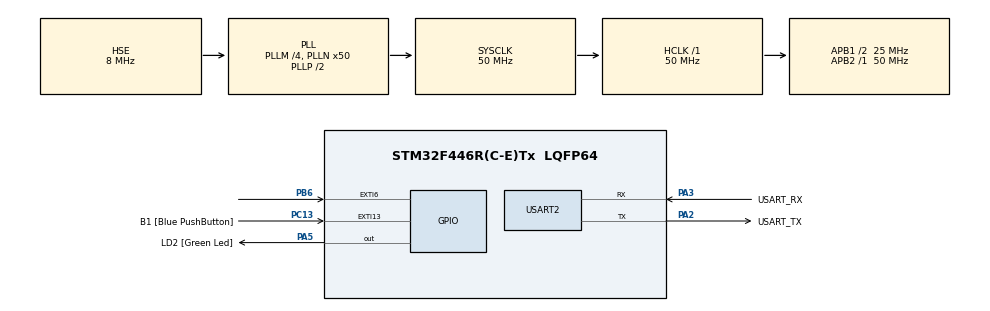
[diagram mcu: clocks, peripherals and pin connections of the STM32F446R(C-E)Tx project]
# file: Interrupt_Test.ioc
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Mcu.Family=STM32F4
Mcu.Name=STM32F446R(C-E)Tx
Mcu.Package=LQFP64
NVIC.EXTI9_5_IRQn=true\:0\:0\:false\:false\:true\:true\:true
NVIC.PriorityGroup=NVIC_PRIORITYGROUP_0
PA13.GPIO_Label=TMS
PA13.Mode=Serial_Wire
PA13.Signal=SYS_JTMS-SWDIO
PA14.GPIO_Label=TCK
PA14.Mode=Serial_Wire
PA14.Signal=SYS_JTCK-SWCLK
PA2.GPIO_Label=USART_TX
PA2.Mode=Asynchronous
PA2.Signal=USART2_TX
PA3.GPIO_Label=USART_RX
PA3.Mode=Asynchronous
PA3.Signal=USART2_RX
PA5.GPIO_Label=LD2 [Green Led]
PA5.Signal=GPIO_Output
PB3.GPIO_Label=SWO
PB3.Signal=SYS_JTDO-SWO
PB6.Signal=GPXTI6
PC13.GPIO_Label=B1 [Blue PushButton]
PC13.GPIO_ModeDefaultEXTI=GPIO_MODE_IT_FALLING
PC13.Signal=GPXTI13
PC14-OSC32_IN.Mode=LSE-External-Oscillator
PC14-OSC32_IN.Signal=RCC_OSC32_IN
PC15-OSC32_OUT.Mode=LSE-External-Oscillator
PC15-OSC32_OUT.Signal=RCC_OSC32_OUT
PH0-OSC_IN.Mode=HSE-External-Oscillator
PH0-OSC_IN.Signal=RCC_OSC_IN
PH1-OSC_OUT.Mode=HSE-External-Oscillator
PH1-OSC_OUT.Signal=RCC_OSC_OUT
ProjectManager.HeapSize=0x200
ProjectManager.StackSize=0x400
ProjectManager.TargetToolchain=STM32CubeIDE
RCC.48MHZClocksFreq_Value=84000000
RCC.AHBFreq_Value=50000000
RCC.APB1CLKDivider=RCC_HCLK_DIV2
RCC.APB1Freq_Value=25000000
RCC.APB1TimFreq_Value=50000000
RCC.APB2Freq_Value=50000000
RCC.APB2TimFreq_Value=50000000
RCC.CortexFreq_Value=50000000
RCC.FLatency-AdvancedSettings=FLASH_LATENCY_1
RCC.HCLKFreq_Value=50000000
RCC.HSE_VALUE=8000000
RCC.HSI_VALUE=16000000
RCC.PLLM=4
RCC.PLLN=50
RCC.PLLSourceVirtual=RCC_PLLSOURCE_HSE
RCC.SYSCLKFreq_VALUE=50000000
RCC.SYSCLKSource=RCC_SYSCLKSOURCE_PLLCLK
RCC.USBFreq_Value=50000000
RCC.VCOOutputFreq_Value=100000000
USART2.VirtualMode=VM_ASYNC
board=NUCLEO-F446RE

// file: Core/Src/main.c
/* USER CODE BEGIN Header */
/**
  ******************************************************************************
  * @file           : main.c
  * @brief          : Main program body
  ******************************************************************************
  * @attention
  *
  * <h2><center>&copy; Copyright (c) 2021 STMicroelectronics.
  * All rights reserved.</center></h2>
  *
  * This software component is licensed by ST under BSD 3-Clause license,
  * the "License"; You may not use this file except in compliance with the
  * License. You may obtain a copy of the License at:
  *                        opensource.org/licenses/BSD-3-Clause
  *
  ******************************************************************************
  */
/* USER CODE END Header */
#include "main.h"

/* USER CODE BEGIN Includes */
#include "stdio.h"
/* USER CODE END Includes */

UART_HandleTypeDef huart2;

void SystemClock_Config(void);
static void MX_GPIO_Init(void);
static void MX_USART2_UART_Init(void);

/* USER CODE BEGIN 0 */
short detect = 0;

void HAL_GPIO_EXTI_Callback(uint16_t GPIO_Pin)
{
    if(GPIO_Pin == GPIO_PIN_6)
    {
		HAL_GPIO_TogglePin(LD2_GPIO_Port, LD2_Pin);
		if(detect == 0)
			detect = 1;
		else
			detect = 0;
    }
}

int _write(int file, char *ptr, int len)
{
	for(int i=0; i<len; i++)
		ITM_SendChar((*ptr++));

	return len;
}

/* USER CODE END 0 */

int main(void)
{

  /* MCU Configuration--------------------------------------------------------*/

  /* Reset of all peripherals, Initializes the Flash interface and the Systick. */
  HAL_Init();

  /* Configure the system clock */
  SystemClock_Config();

  /* Initialize all configured peripherals */
  MX_GPIO_Init();
  MX_USART2_UART_Init();
  /* USER CODE BEGIN 2 */
  printf("Assuming the card is already moved...\n\n");
  /* USER CODE END 2 */

  /* Infinite loop */
  while (1)
  {

    /* USER CODE BEGIN 3 */

	  if(count==1) {
		  printf("%d) Card is inserted\n",detect);
	  }
	  else {
		  printf("%d) No card detected\n",detect);
	  }

  }
  /* USER CODE END 3 */
}

void SystemClock_Config(void)
{
  RCC_OscInitTypeDef RCC_OscInitStruct = {0};
  RCC_ClkInitTypeDef RCC_ClkInitStruct = {0};

  /** Configure the main internal regulator output voltage
  */
  __HAL_RCC_PWR_CLK_ENABLE();
  __HAL_PWR_VOLTAGESCALING_CONFIG(PWR_REGULATOR_VOLTAGE_SCALE3);
  /** Initializes the RCC Oscillators according to the specified parameters
  * in the RCC_OscInitTypeDef structure.
  */
  RCC_OscInitStruct.OscillatorType = RCC_OSCILLATORTYPE_HSE;
  RCC_OscInitStruct.HSEState = RCC_HSE_ON;
  RCC_OscInitStruct.PLL.PLLState = RCC_PLL_ON;
  RCC_OscInitStruct.PLL.PLLSource = RCC_PLLSOURCE_HSE;
  RCC_OscInitStruct.PLL.PLLM = 4;
  RCC_OscInitStruct.PLL.PLLN = 50;
  RCC_OscInitStruct.PLL.PLLP = RCC_PLLP_DIV2;
  RCC_OscInitStruct.PLL.PLLQ = 2;
  RCC_OscInitStruct.PLL.PLLR = 2;
  if (HAL_RCC_OscConfig(&RCC_OscInitStruct) != HAL_OK)
  {
    Error_Handler();
  }
  /** Initializes the CPU, AHB and APB buses clocks
  */
  RCC_ClkInitStruct.ClockType = RCC_CLOCKTYPE_HCLK|RCC_CLOCKTYPE_SYSCLK
                              |RCC_CLOCKTYPE_PCLK1|RCC_CLOCKTYPE_PCLK2;
  RCC_ClkInitStruct.SYSCLKSource = RCC_SYSCLKSOURCE_PLLCLK;
  RCC_ClkInitStruct.AHBCLKDivider = RCC_SYSCLK_DIV1;
  RCC_ClkInitStruct.APB1CLKDivider = RCC_HCLK_DIV2;
  RCC_ClkInitStruct.APB2CLKDivider = RCC_HCLK_DIV1;

  if (HAL_RCC_ClockConfig(&RCC_ClkInitStruct, FLASH_LATENCY_1) != HAL_OK)
  {
    Error_Handler();
  }
}

static void MX_USART2_UART_Init(void)
{

  huart2.Instance = USART2;
  huart2.Init.BaudRate = 115200;
  huart2.Init.WordLength = UART_WORDLENGTH_8B;
  huart2.Init.StopBits = UART_STOPBITS_1;
  huart2.Init.Parity = UART_PARITY_NONE;
  huart2.Init.Mode = UART_MODE_TX_RX;
  huart2.Init.HwFlowCtl = UART_HWCONTROL_NONE;
  huart2.Init.OverSampling = UART_OVERSAMPLING_16;
  if (HAL_UART_Init(&huart2) != HAL_OK)
  {
    Error_Handler();
  }

}

static void MX_GPIO_Init(void)
{
  GPIO_InitTypeDef GPIO_InitStruct = {0};

  /* GPIO Ports Clock Enable */
  __HAL_RCC_GPIOC_CLK_ENABLE();
  __HAL_RCC_GPIOH_CLK_ENABLE();
  __HAL_RCC_GPIOA_CLK_ENABLE();
  __HAL_RCC_GPIOB_CLK_ENABLE();

  /*Configure GPIO pin Output Level */
  HAL_GPIO_WritePin(LD2_GPIO_Port, LD2_Pin, GPIO_PIN_RESET);

  /*Configure GPIO pin : B1_Pin */
  GPIO_InitStruct.Pin = B1_Pin;
  GPIO_InitStruct.Mode = GPIO_MODE_IT_FALLING;
  GPIO_InitStruct.Pull = GPIO_NOPULL;
  HAL_GPIO_Init(B1_GPIO_Port, &GPIO_InitStruct);

  /*Configure GPIO pin : LD2_Pin */
  GPIO_InitStruct.Pin = LD2_Pin;
  GPIO_InitStruct.Mode = GPIO_MODE_OUTPUT_PP;
  GPIO_InitStruct.Pull = GPIO_NOPULL;
  GPIO_InitStruct.Speed = GPIO_SPEED_FREQ_LOW;
  HAL_GPIO_Init(LD2_GPIO_Port, &GPIO_InitStruct);

  /*Configure GPIO pin : PB6 */
  GPIO_InitStruct.Pin = GPIO_PIN_6;
  GPIO_InitStruct.Mode = GPIO_MODE_IT_RISING;
  GPIO_InitStruct.Pull = GPIO_NOPULL;
  HAL_GPIO_Init(GPIOB, &GPIO_InitStruct);

  /* EXTI interrupt init*/
  HAL_NVIC_SetPriority(EXTI9_5_IRQn, 0, 0);
  HAL_NVIC_EnableIRQ(EXTI9_5_IRQn);

}

void Error_Handler(void)
{
}

/************************ (C) COPYRIGHT STMicroelectronics *****END OF FILE****/
